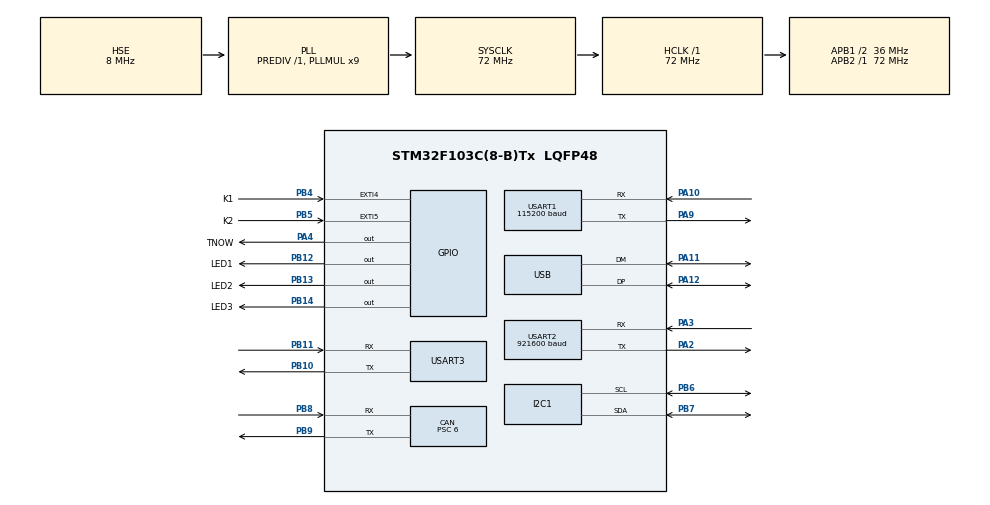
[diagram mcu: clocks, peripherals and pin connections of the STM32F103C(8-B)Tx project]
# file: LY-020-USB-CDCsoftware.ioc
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CAN.BS1=CAN_BS1_8TQ
CAN.BS2=CAN_BS2_3TQ
CAN.CalculateBaudRate=499999
CAN.CalculateTimeBit=2000
CAN.CalculateTimeQuantum=166.66666666666669
CAN.Prescaler=6
Dma.Request0=USART1_RX
Dma.Request1=USART1_TX
Dma.Request2=USART2_RX
Dma.Request3=USART2_TX
Dma.Request4=USART3_RX
Dma.Request5=USART3_TX
Dma.USART1_RX.0.Direction=DMA_PERIPH_TO_MEMORY
Dma.USART1_RX.0.Instance=DMA1_Channel5
Dma.USART1_RX.0.MemDataAlignment=DMA_MDATAALIGN_BYTE
Dma.USART1_RX.0.MemInc=DMA_MINC_ENABLE
Dma.USART1_RX.0.Mode=DMA_CIRCULAR
Dma.USART1_RX.0.PeriphDataAlignment=DMA_PDATAALIGN_BYTE
Dma.USART1_RX.0.PeriphInc=DMA_PINC_DISABLE
Dma.USART1_RX.0.Priority=DMA_PRIORITY_VERY_HIGH
Dma.USART1_TX.1.Direction=DMA_MEMORY_TO_PERIPH
Dma.USART1_TX.1.Instance=DMA1_Channel4
Dma.USART1_TX.1.MemDataAlignment=DMA_MDATAALIGN_BYTE
Dma.USART1_TX.1.MemInc=DMA_MINC_ENABLE
Dma.USART1_TX.1.Mode=DMA_NORMAL
Dma.USART1_TX.1.PeriphDataAlignment=DMA_PDATAALIGN_BYTE
Dma.USART1_TX.1.PeriphInc=DMA_PINC_DISABLE
Dma.USART1_TX.1.Priority=DMA_PRIORITY_VERY_HIGH
Dma.USART2_RX.2.Direction=DMA_PERIPH_TO_MEMORY
Dma.USART2_RX.2.Instance=DMA1_Channel6
Dma.USART2_RX.2.MemDataAlignment=DMA_MDATAALIGN_BYTE
Dma.USART2_RX.2.MemInc=DMA_MINC_ENABLE
Dma.USART2_RX.2.Mode=DMA_CIRCULAR
Dma.USART2_RX.2.PeriphDataAlignment=DMA_PDATAALIGN_BYTE
Dma.USART2_RX.2.PeriphInc=DMA_PINC_DISABLE
Dma.USART2_RX.2.Priority=DMA_PRIORITY_HIGH
Dma.USART2_TX.3.Direction=DMA_MEMORY_TO_PERIPH
Dma.USART2_TX.3.Instance=DMA1_Channel7
Dma.USART2_TX.3.MemDataAlignment=DMA_MDATAALIGN_BYTE
Dma.USART2_TX.3.MemInc=DMA_MINC_ENABLE
Dma.USART2_TX.3.Mode=DMA_NORMAL
Dma.USART2_TX.3.PeriphDataAlignment=DMA_PDATAALIGN_BYTE
Dma.USART2_TX.3.PeriphInc=DMA_PINC_DISABLE
Dma.USART2_TX.3.Priority=DMA_PRIORITY_HIGH
Dma.USART3_RX.4.Direction=DMA_PERIPH_TO_MEMORY
Dma.USART3_RX.4.Instance=DMA1_Channel3
Dma.USART3_RX.4.MemDataAlignment=DMA_MDATAALIGN_BYTE
Dma.USART3_RX.4.MemInc=DMA_MINC_ENABLE
Dma.USART3_RX.4.Mode=DMA_CIRCULAR
Dma.USART3_RX.4.PeriphDataAlignment=DMA_PDATAALIGN_BYTE
Dma.USART3_RX.4.PeriphInc=DMA_PINC_DISABLE
Dma.USART3_RX.4.Priority=DMA_PRIORITY_LOW
Dma.USART3_TX.5.Direction=DMA_MEMORY_TO_PERIPH
Dma.USART3_TX.5.Instance=DMA1_Channel2
Dma.USART3_TX.5.MemDataAlignment=DMA_MDATAALIGN_BYTE
Dma.USART3_TX.5.MemInc=DMA_MINC_ENABLE
Dma.USART3_TX.5.Mode=DMA_NORMAL
Dma.USART3_TX.5.PeriphDataAlignment=DMA_PDATAALIGN_BYTE
Dma.USART3_TX.5.PeriphInc=DMA_PINC_DISABLE
Dma.USART3_TX.5.Priority=DMA_PRIORITY_LOW
FREERTOS.Tasks01=defaultTask,24,128,StartDefaultTask,Default,NULL,Dynamic,NULL,NULL
FREERTOS.configTOTAL_HEAP_SIZE=15360
Mcu.Family=STM32F1
Mcu.Name=STM32F103C(8-B)Tx
Mcu.Package=LQFP48
NVIC.CAN1_RX1_IRQn=true\:5\:0\:false\:false\:true\:true\:true\:true\:true
NVIC.CAN1_SCE_IRQn=true\:5\:0\:false\:false\:true\:true\:true\:true\:true
NVIC.DMA1_Channel2_IRQn=true\:5\:0\:false\:false\:true\:true\:false\:true\:true
NVIC.DMA1_Channel3_IRQn=true\:5\:0\:false\:false\:true\:true\:false\:true\:true
NVIC.DMA1_Channel4_IRQn=true\:5\:0\:false\:false\:true\:true\:false\:true\:true
NVIC.DMA1_Channel5_IRQn=true\:5\:0\:false\:false\:true\:true\:false\:true\:true
NVIC.DMA1_Channel6_IRQn=true\:5\:0\:false\:false\:true\:true\:false\:true\:true
NVIC.DMA1_Channel7_IRQn=true\:5\:0\:false\:false\:true\:true\:false\:true\:true
NVIC.EXTI4_IRQn=true\:5\:0\:false\:false\:true\:true\:true\:true\:true
NVIC.EXTI9_5_IRQn=true\:5\:0\:false\:false\:true\:true\:true\:true\:true
NVIC.PriorityGroup=NVIC_PRIORITYGROUP_4
NVIC.RCC_IRQn=true\:5\:0\:false\:false\:true\:true\:true\:false\:true
NVIC.USART1_IRQn=true\:5\:0\:false\:false\:true\:true\:true\:true\:true
NVIC.USART2_IRQn=true\:5\:0\:false\:false\:true\:true\:true\:true\:true
NVIC.USART3_IRQn=true\:5\:0\:false\:false\:true\:true\:true\:true\:true
NVIC.USB_HP_CAN1_TX_IRQn=true\:5\:0\:false\:false\:true\:true\:true\:true\:true
NVIC.USB_LP_CAN1_RX0_IRQn=true\:5\:0\:false\:false\:true\:true\:false\:true\:true
PA10.Mode=Asynchronous
PA10.Signal=USART1_RX
PA11.Mode=Device
PA11.Signal=USB_DM
PA12.Mode=Device
PA12.Signal=USB_DP
PA13.Mode=Serial_Wire
PA13.Signal=SYS_JTMS-SWDIO
PA14.Mode=Serial_Wire
PA14.Signal=SYS_JTCK-SWCLK
PA2.Mode=Asynchronous
PA2.Signal=USART2_TX
PA3.Mode=Asynchronous
PA3.Signal=USART2_RX
PA4.GPIO_Label=TNOW
PA4.GPIO_Speed=GPIO_SPEED_FREQ_MEDIUM
PA4.Signal=GPIO_Output
PA9.Mode=Asynchronous
PA9.Signal=USART1_TX
PB10.Mode=Asynchronous
PB10.Signal=USART3_TX
PB11.Mode=Asynchronous
PB11.Signal=USART3_RX
PB12.GPIO_Label=LED1
PB12.Signal=GPIO_Output
PB13.GPIO_Label=LED2
PB13.Signal=GPIO_Output
PB14.GPIO_Label=LED3
PB14.Signal=GPIO_Output
PB4.GPIO_Label=K1
PB4.GPIO_ModeDefaultEXTI=GPIO_MODE_IT_FALLING
PB4.Signal=GPXTI4
PB5.GPIO_Label=K2
PB5.GPIO_ModeDefaultEXTI=GPIO_MODE_IT_FALLING
PB5.Signal=GPXTI5
PB6.Mode=I2C
PB6.Signal=I2C1_SCL
PB7.Mode=I2C
PB7.Signal=I2C1_SDA
PB8.Mode=CAN_Activate
PB8.Signal=CAN_RX
PB9.Mode=CAN_Activate
PB9.Signal=CAN_TX
PC14-OSC32_IN.Mode=LSE-External-Oscillator
PC14-OSC32_IN.Signal=RCC_OSC32_IN
PC15-OSC32_OUT.Mode=LSE-External-Oscillator
PC15-OSC32_OUT.Signal=RCC_OSC32_OUT
PD0-OSC_IN.Mode=HSE-External-Oscillator
PD0-OSC_IN.Signal=RCC_OSC_IN
PD1-OSC_OUT.Mode=HSE-External-Oscillator
PD1-OSC_OUT.Signal=RCC_OSC_OUT
ProjectManager.HeapSize=0x400
ProjectManager.StackSize=0x800
ProjectManager.TargetToolchain=MDK-ARM V5.32
RCC.AHBFreq_Value=72000000
RCC.APB1CLKDivider=RCC_HCLK_DIV2
RCC.APB1Freq_Value=36000000
RCC.APB1TimFreq_Value=72000000
RCC.APB2Freq_Value=72000000
RCC.APB2TimFreq_Value=72000000
RCC.HCLKFreq_Value=72000000
RCC.PLLMUL=RCC_PLL_MUL9
RCC.PLLSourceVirtual=RCC_PLLSOURCE_HSE
RCC.SYSCLKFreq_VALUE=72000000
RCC.SYSCLKSource=RCC_SYSCLKSOURCE_PLLCLK
RCC.USBFreq_Value=48000000
RCC.USBPrescaler=RCC_USBCLKSOURCE_PLL_DIV1_5
TIM1.AutoReloadPreload=TIM_AUTORELOAD_PRELOAD_ENABLE
TIM1.ClockDivision=TIM_CLOCKDIVISION_DIV1
TIM1.Period=1000-1
TIM1.Prescaler=72-1
TIM2.AutoReloadPreload=TIM_AUTORELOAD_PRELOAD_ENABLE
TIM2.Period=1000-1
TIM2.Prescaler=72-1
TIM3.AutoReloadPreload=TIM_AUTORELOAD_PRELOAD_ENABLE
TIM3.Period=1000-1
TIM3.Prescaler=72-1
TIM4.AutoReloadPreload=TIM_AUTORELOAD_PRELOAD_ENABLE
TIM4.Period=1000-1
TIM4.Prescaler=72-1
USART1.BaudRate=115200
USART1.VirtualMode=VM_ASYNC
USART2.BaudRate=921600
USART2.VirtualMode=VM_ASYNC
USART3.VirtualMode=VM_ASYNC
USB_DEVICE.CLASS_NAME_FS=CDC
USB_DEVICE.USBD_SELF_POWERED=0
USB_DEVICE.VirtualMode=Cdc
USB_DEVICE.VirtualModeFS=Cdc_FS
VP_FREERTOS_VS_CMSIS_V2.Mode=CMSIS_V2
VP_TIM1_VS_ClockSourceINT.Mode=Internal
VP_TIM2_VS_ClockSourceINT.Mode=Internal
VP_TIM3_VS_ClockSourceINT.Mode=Internal
VP_TIM4_VS_ClockSourceINT.Mode=Internal
VP_USB_DEVICE_VS_USB_DEVICE_CDC_FS.Mode=CDC_FS
board=custom

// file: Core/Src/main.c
/* USER CODE BEGIN Header */
/**
  ******************************************************************************
  * @file           : main.c
  * @brief          : Main program body
  ******************************************************************************
  * @attention
  *
  * Copyright (c) 2025 STMicroelectronics.
  * All rights reserved.
  *
  * This software is licensed under terms that can be found in the LICENSE file
  * in the root directory of this software component.
  * If no LICENSE file comes with this software, it is provided AS-IS.
  *
  ******************************************************************************
  */
/* USER CODE END Header */
#include "main.h"
#include "cmsis_os.h"
#include "usb_device.h"

/* USER CODE BEGIN Includes */
#include "stdio.h"
#include "task.h"

#include "OLED_IIC_Config.h"
#include "OLED_Function.h"
#include "OLED_Front.h"
#include "pc_serial.h"
#include "testTask.h"
#include "insTask.h"
#include "ZLA_Motor.h"
#include "ins.h"
#include "wit_c_sdk.h"
/* USER CODE END Includes */

CAN_HandleTypeDef hcan;

I2C_HandleTypeDef hi2c1;

TIM_HandleTypeDef htim1;
TIM_HandleTypeDef htim2;
TIM_HandleTypeDef htim3;
TIM_HandleTypeDef htim4;

UART_HandleTypeDef huart1;
UART_HandleTypeDef huart2;
UART_HandleTypeDef huart3;
DMA_HandleTypeDef hdma_usart1_rx;
DMA_HandleTypeDef hdma_usart1_tx;
DMA_HandleTypeDef hdma_usart2_rx;
DMA_HandleTypeDef hdma_usart2_tx;
DMA_HandleTypeDef hdma_usart3_rx;
DMA_HandleTypeDef hdma_usart3_tx;

/* Definitions for defaultTask */
osThreadId_t defaultTaskHandle;
const osThreadAttr_t defaultTask_attributes = {
  .name = "defaultTask",
  .stack_size = 128 * 4,
  .priority = (osPriority_t) osPriorityNormal,
};
/* USER CODE BEGIN PV */

CAN_TxHeaderTypeDef TxHeaderCAN;
CAN_RxHeaderTypeDef RxHeaderCAN;
uint8_t RxDataCAN[8];
uint8_t TxDataCAN[8];

uint8_t CAN_Rx_Flag=0;

// UART1 接收缓冲区
#define U1_RX_MAX_LEN 256
uint8_t u1_rx_buffer[U1_RX_MAX_LEN];
// UART2 接收缓冲区（INS）
uint8_t u2_rx_buffer[INS_UART_RX_MAX_LEN];
uint8_t u2_rx_byte; // Single byte buffer for IT mode
// UART3 接收缓冲区（INS）
uint8_t u3_rx_buffer[INS_UART_RX_MAX_LEN];

/* USER CODE END PV */

void SystemClock_Config(void);
static void MX_GPIO_Init(void);
static void MX_DMA_Init(void);
static void MX_USART1_UART_Init(void);
static void MX_I2C1_Init(void);
static void MX_USART2_UART_Init(void);
static void MX_USART3_UART_Init(void);
static void MX_CAN_Init(void);
static void MX_TIM1_Init(void);
static void MX_TIM2_Init(void);
static void MX_TIM3_Init(void);
static void MX_TIM4_Init(void);
void StartDefaultTask(void *argument);

/* USER CODE BEGIN PFP */
void can_filter_init(void);
void CAN_Test(void);
/* USER CODE END PFP */

/* USER CODE BEGIN 0 */

#ifdef __GNUC__
  #define PUTCHAR_PROTOTYPE int __io_putchar(int ch)
#else
  #define PUTCHAR_PROTOTYPE int fputc(int ch, FILE *f)
#endif

PUTCHAR_PROTOTYPE
{
  HAL_UART_Transmit(&huart1,(uint8_t *)&ch,1,0xFFFF); //������ʽ��ӡ,����1
  return ch;
}

static void app_fault_delay(volatile uint32_t cycles)
{
  while (cycles-- > 0U)
  {
    __NOP();
  }
}

static void app_break_if_debugger_attached(void)
{
  if ((CoreDebug->DHCSR & CoreDebug_DHCSR_C_DEBUGEN_Msk) != 0U)
  {
    __BKPT(0);
  }
}

void App_FaultTrap(uint8_t code)
{
  __disable_irq();

  app_break_if_debugger_attached();

  HAL_GPIO_WritePin(LED1_GPIO_Port, LED1_Pin, GPIO_PIN_RESET);
  HAL_GPIO_WritePin(LED2_GPIO_Port, LED2_Pin, GPIO_PIN_RESET);
  HAL_GPIO_WritePin(LED3_GPIO_Port, LED3_Pin, GPIO_PIN_RESET);

  for (;;)
  {
    uint8_t pulse_count = code;
    if (pulse_count == 0U)
    {
      pulse_count = 1U;
    }

    for (uint8_t pulse = 0; pulse < pulse_count; ++pulse)
    {
      HAL_GPIO_WritePin(LED2_GPIO_Port, LED2_Pin, GPIO_PIN_SET);
      app_fault_delay(7200000U);
      HAL_GPIO_WritePin(LED2_GPIO_Port, LED2_Pin, GPIO_PIN_RESET);
      app_fault_delay(7200000U);
    }

    app_fault_delay(21600000U);
  }
}

void vAssertCalled(const char *file, uint32_t line)
{
  (void)file;
  (void)line;
  App_FaultTrap(APP_FAULT_RTOS_ASSERT);
}

void vApplicationStackOverflowHook(TaskHandle_t xTask, char *pcTaskName)
{
  (void)xTask;
  (void)pcTaskName;
  App_FaultTrap(APP_FAULT_STACK_OVERFLOW);
}

void vApplicationMallocFailedHook(void)
{
  App_FaultTrap(APP_FAULT_MALLOC_FAILED);
}

/* USER CODE END 0 */

int main(void)
{

  /* MCU Configuration--------------------------------------------------------*/

  /* Reset of all peripherals, Initializes the Flash interface and the Systick. */
  HAL_Init();

  /* USER CODE BEGIN Init */
  SCB->SHCSR |= SCB_SHCSR_MEMFAULTENA_Msk | SCB_SHCSR_BUSFAULTENA_Msk | SCB_SHCSR_USGFAULTENA_Msk;

  /* USER CODE END Init */

  /* Configure the system clock */
  SystemClock_Config();

  /* Initialize all configured peripherals */
  MX_GPIO_Init();
  MX_DMA_Init();
  MX_USART1_UART_Init();
  MX_I2C1_Init();
  MX_USART2_UART_Init();
  MX_USART3_UART_Init();
  MX_CAN_Init();
  MX_TIM1_Init();
  MX_TIM2_Init();
  MX_TIM3_Init();
  MX_TIM4_Init();
  /* USER CODE BEGIN 2 */
  can_filter_init();
  PC_Init();
  // 开启 UART1 DMA 接收 + 空闲中断
  HAL_UARTEx_ReceiveToIdle_DMA(&huart1, u1_rx_buffer, U1_RX_MAX_LEN);
  __HAL_DMA_DISABLE_IT(&hdma_usart1_rx, DMA_IT_HT); // 禁用半传输中断，防止频繁进入

	osThreadId_t testTaskHandle;
  const osThreadAttr_t testTask_attributes = {
    .name = "test_task",
    .stack_size = 512 * 4,
    .priority = (osPriority_t) osPriorityNormal,
  };

	osThreadId_t insTaskHandle;
const osThreadAttr_t insTask_attributes = {
  .name = "ins_task",
  .stack_size = 256 * 4,
  .priority = (osPriority_t) osPriorityNormal,
};

  /* USER CODE END 2 */

  /* Init scheduler */
  osKernelInitialize();

  /* Create the thread(s) */
  /* creation of defaultTask */
  defaultTaskHandle = osThreadNew(StartDefaultTask, NULL, &defaultTask_attributes);

  /* USER CODE BEGIN RTOS_THREADS */
  /* add threads, ... */
  testTaskHandle = osThreadNew((osThreadFunc_t)test_task, NULL, &testTask_attributes);
  insTaskHandle = osThreadNew((osThreadFunc_t)ins_task, NULL, &insTask_attributes);
  (void)testTaskHandle;
  (void)insTaskHandle;
  /* USER CODE END RTOS_THREADS */

  /* Start scheduler */
  osKernelStart();

  /* We should never get here as control is now taken by the scheduler */

  /* Infinite loop */
  while (1)
  {

  }
}

void SystemClock_Config(void)
{
  RCC_OscInitTypeDef RCC_OscInitStruct = {0};
  RCC_ClkInitTypeDef RCC_ClkInitStruct = {0};
  RCC_PeriphCLKInitTypeDef PeriphClkInit = {0};

  /** Initializes the RCC Oscillators according to the specified parameters
  * in the RCC_OscInitTypeDef structure.
  */
  RCC_OscInitStruct.OscillatorType = RCC_OSCILLATORTYPE_HSE;
  RCC_OscInitStruct.HSEState = RCC_HSE_ON;
  RCC_OscInitStruct.HSEPredivValue = RCC_HSE_PREDIV_DIV1;
  RCC_OscInitStruct.HSIState = RCC_HSI_ON;
  RCC_OscInitStruct.PLL.PLLState = RCC_PLL_ON;
  RCC_OscInitStruct.PLL.PLLSource = RCC_PLLSOURCE_HSE;
  RCC_OscInitStruct.PLL.PLLMUL = RCC_PLL_MUL9;
  if (HAL_RCC_OscConfig(&RCC_OscInitStruct) != HAL_OK)
  {
    Error_Handler();
  }

  /** Initializes the CPU, AHB and APB buses clocks
  */
  RCC_ClkInitStruct.ClockType = RCC_CLOCKTYPE_HCLK|RCC_CLOCKTYPE_SYSCLK
                              |RCC_CLOCKTYPE_PCLK1|RCC_CLOCKTYPE_PCLK2;
  RCC_ClkInitStruct.SYSCLKSource = RCC_SYSCLKSOURCE_PLLCLK;
  RCC_ClkInitStruct.AHBCLKDivider = RCC_SYSCLK_DIV1;
  RCC_ClkInitStruct.APB1CLKDivider = RCC_HCLK_DIV2;
  RCC_ClkInitStruct.APB2CLKDivider = RCC_HCLK_DIV1;

  if (HAL_RCC_ClockConfig(&RCC_ClkInitStruct, FLASH_LATENCY_2) != HAL_OK)
  {
    Error_Handler();
  }
  PeriphClkInit.PeriphClockSelection = RCC_PERIPHCLK_USB;
  PeriphClkInit.UsbClockSelection = RCC_USBCLKSOURCE_PLL_DIV1_5;
  if (HAL_RCCEx_PeriphCLKConfig(&PeriphClkInit) != HAL_OK)
  {
    Error_Handler();
  }
}

static void MX_CAN_Init(void)
{

  hcan.Instance = CAN1;
  hcan.Init.Prescaler = 6;
  hcan.Init.Mode = CAN_MODE_NORMAL;
  hcan.Init.SyncJumpWidth = CAN_SJW_1TQ;
  hcan.Init.TimeSeg1 = CAN_BS1_8TQ;
  hcan.Init.TimeSeg2 = CAN_BS2_3TQ;
  hcan.Init.TimeTriggeredMode = DISABLE;
  hcan.Init.AutoBusOff = DISABLE;
  hcan.Init.AutoWakeUp = DISABLE;
  hcan.Init.AutoRetransmission = DISABLE;
  hcan.Init.ReceiveFifoLocked = DISABLE;
  hcan.Init.TransmitFifoPriority = DISABLE;
  if (HAL_CAN_Init(&hcan) != HAL_OK)
  {
    Error_Handler();
  }

}

static void MX_I2C1_Init(void)
{

  hi2c1.Instance = I2C1;
  hi2c1.Init.ClockSpeed = 100000;
  hi2c1.Init.DutyCycle = I2C_DUTYCYCLE_2;
  hi2c1.Init.OwnAddress1 = 0;
  hi2c1.Init.AddressingMode = I2C_ADDRESSINGMODE_7BIT;
  hi2c1.Init.DualAddressMode = I2C_DUALADDRESS_DISABLE;
  hi2c1.Init.OwnAddress2 = 0;
  hi2c1.Init.GeneralCallMode = I2C_GENERALCALL_DISABLE;
  hi2c1.Init.NoStretchMode = I2C_NOSTRETCH_DISABLE;
  if (HAL_I2C_Init(&hi2c1) != HAL_OK)
  {
    Error_Handler();
  }

}

static void MX_TIM1_Init(void)
{

  TIM_ClockConfigTypeDef sClockSourceConfig = {0};
  TIM_MasterConfigTypeDef sMasterConfig = {0};

  htim1.Instance = TIM1;
  htim1.Init.Prescaler = 72-1;
  htim1.Init.CounterMode = TIM_COUNTERMODE_UP;
  htim1.Init.Period = 1000-1;
  htim1.Init.ClockDivision = TIM_CLOCKDIVISION_DIV1;
  htim1.Init.RepetitionCounter = 0;
  htim1.Init.AutoReloadPreload = TIM_AUTORELOAD_PRELOAD_ENABLE;
  if (HAL_TIM_Base_Init(&htim1) != HAL_OK)
  {
    Error_Handler();
  }
  sClockSourceConfig.ClockSource = TIM_CLOCKSOURCE_INTERNAL;
  if (HAL_TIM_ConfigClockSource(&htim1, &sClockSourceConfig) != HAL_OK)
  {
    Error_Handler();
  }
  sMasterConfig.MasterOutputTrigger = TIM_TRGO_RESET;
  sMasterConfig.MasterSlaveMode = TIM_MASTERSLAVEMODE_DISABLE;
  if (HAL_TIMEx_MasterConfigSynchronization(&htim1, &sMasterConfig) != HAL_OK)
  {
    Error_Handler();
  }

}

static void MX_TIM2_Init(void)
{

  TIM_ClockConfigTypeDef sClockSourceConfig = {0};
  TIM_MasterConfigTypeDef sMasterConfig = {0};

  htim2.Instance = TIM2;
  htim2.Init.Prescaler = 72-1;
  htim2.Init.CounterMode = TIM_COUNTERMODE_UP;
  htim2.Init.Period = 1000-1;
  htim2.Init.ClockDivision = TIM_CLOCKDIVISION_DIV1;
  htim2.Init.AutoReloadPreload = TIM_AUTORELOAD_PRELOAD_ENABLE;
  if (HAL_TIM_Base_Init(&htim2) != HAL_OK)
  {
    Error_Handler();
  }
  sClockSourceConfig.ClockSource = TIM_CLOCKSOURCE_INTERNAL;
  if (HAL_TIM_ConfigClockSource(&htim2, &sClockSourceConfig) != HAL_OK)
  {
    Error_Handler();
  }
  sMasterConfig.MasterOutputTrigger = TIM_TRGO_RESET;
  sMasterConfig.MasterSlaveMode = TIM_MASTERSLAVEMODE_DISABLE;
  if (HAL_TIMEx_MasterConfigSynchronization(&htim2, &sMasterConfig) != HAL_OK)
  {
    Error_Handler();
  }

}

static void MX_TIM3_Init(void)
{

  TIM_ClockConfigTypeDef sClockSourceConfig = {0};
  TIM_MasterConfigTypeDef sMasterConfig = {0};

  htim3.Instance = TIM3;
  htim3.Init.Prescaler = 72-1;
  htim3.Init.CounterMode = TIM_COUNTERMODE_UP;
  htim3.Init.Period = 1000-1;
  htim3.Init.ClockDivision = TIM_CLOCKDIVISION_DIV1;
  htim3.Init.AutoReloadPreload = TIM_AUTORELOAD_PRELOAD_ENABLE;
  if (HAL_TIM_Base_Init(&htim3) != HAL_OK)
  {
    Error_Handler();
  }
  sClockSourceConfig.ClockSource = TIM_CLOCKSOURCE_INTERNAL;
  if (HAL_TIM_ConfigClockSource(&htim3, &sClockSourceConfig) != HAL_OK)
  {
    Error_Handler();
  }
  sMasterConfig.MasterOutputTrigger = TIM_TRGO_RESET;
  sMasterConfig.MasterSlaveMode = TIM_MASTERSLAVEMODE_DISABLE;
  if (HAL_TIMEx_MasterConfigSynchronization(&htim3, &sMasterConfig) != HAL_OK)
  {
    Error_Handler();
  }

}

static void MX_TIM4_Init(void)
{

  TIM_ClockConfigTypeDef sClockSourceConfig = {0};
  TIM_MasterConfigTypeDef sMasterConfig = {0};

  htim4.Instance = TIM4;
  htim4.Init.Prescaler = 72-1;
  htim4.Init.CounterMode = TIM_COUNTERMODE_UP;
  htim4.Init.Period = 1000-1;
  htim4.Init.ClockDivision = TIM_CLOCKDIVISION_DIV1;
  htim4.Init.AutoReloadPreload = TIM_AUTORELOAD_PRELOAD_ENABLE;
  if (HAL_TIM_Base_Init(&htim4) != HAL_OK)
  {
    Error_Handler();
  }
  sClockSourceConfig.ClockSource = TIM_CLOCKSOURCE_INTERNAL;
  if (HAL_TIM_ConfigClockSource(&htim4, &sClockSourceConfig) != HAL_OK)
  {
    Error_Handler();
  }
  sMasterConfig.MasterOutputTrigger = TIM_TRGO_RESET;
  sMasterConfig.MasterSlaveMode = TIM_MASTERSLAVEMODE_DISABLE;
  if (HAL_TIMEx_MasterConfigSynchronization(&htim4, &sMasterConfig) != HAL_OK)
  {
    Error_Handler();
  }

}

static void MX_USART1_UART_Init(void)
{

  huart1.Instance = USART1;
  huart1.Init.BaudRate = 115200;
  huart1.Init.WordLength = UART_WORDLENGTH_8B;
  huart1.Init.StopBits = UART_STOPBITS_1;
  huart1.Init.Parity = UART_PARITY_NONE;
  huart1.Init.Mode = UART_MODE_TX_RX;
  huart1.Init.HwFlowCtl = UART_HWCONTROL_NONE;
  huart1.Init.OverSampling = UART_OVERSAMPLING_16;
  if (HAL_UART_Init(&huart1) != HAL_OK)
  {
    Error_Handler();
  }

}

static void MX_USART2_UART_Init(void)
{

  huart2.Instance = USART2;
  huart2.Init.BaudRate = 921600;
  huart2.Init.WordLength = UART_WORDLENGTH_8B;
  huart2.Init.StopBits = UART_STOPBITS_1;
  huart2.Init.Parity = UART_PARITY_NONE;
  huart2.Init.Mode = UART_MODE_TX_RX;
  huart2.Init.HwFlowCtl = UART_HWCONTROL_NONE;
  huart2.Init.OverSampling = UART_OVERSAMPLING_16;
  if (HAL_UART_Init(&huart2) != HAL_OK)
  {
    Error_Handler();
  }

}

static void MX_USART3_UART_Init(void)
{

  huart3.Instance = USART3;
  huart3.Init.BaudRate = 115200;
  huart3.Init.WordLength = UART_WORDLENGTH_8B;
  huart3.Init.StopBits = UART_STOPBITS_1;
  huart3.Init.Parity = UART_PARITY_NONE;
  huart3.Init.Mode = UART_MODE_TX_RX;
  huart3.Init.HwFlowCtl = UART_HWCONTROL_NONE;
  huart3.Init.OverSampling = UART_OVERSAMPLING_16;
  if (HAL_UART_Init(&huart3) != HAL_OK)
  {
    Error_Handler();
  }

}

static void MX_DMA_Init(void)
{

  /* DMA controller clock enable */
  __HAL_RCC_DMA1_CLK_ENABLE();

  /* DMA interrupt init */
  /* DMA1_Channel2_IRQn interrupt configuration */
  HAL_NVIC_SetPriority(DMA1_Channel2_IRQn, 5, 0);
  HAL_NVIC_EnableIRQ(DMA1_Channel2_IRQn);
  /* DMA1_Channel3_IRQn interrupt configuration */
  HAL_NVIC_SetPriority(DMA1_Channel3_IRQn, 5, 0);
  HAL_NVIC_EnableIRQ(DMA1_Channel3_IRQn);
  /* DMA1_Channel4_IRQn interrupt configuration */
  HAL_NVIC_SetPriority(DMA1_Channel4_IRQn, 5, 0);
  HAL_NVIC_EnableIRQ(DMA1_Channel4_IRQn);
  /* DMA1_Channel5_IRQn interrupt configuration */
  HAL_NVIC_SetPriority(DMA1_Channel5_IRQn, 5, 0);
  HAL_NVIC_EnableIRQ(DMA1_Channel5_IRQn);
  /* DMA1_Channel6_IRQn interrupt configuration */
  HAL_NVIC_SetPriority(DMA1_Channel6_IRQn, 5, 0);
  HAL_NVIC_EnableIRQ(DMA1_Channel6_IRQn);
  /* DMA1_Channel7_IRQn interrupt configuration */
  HAL_NVIC_SetPriority(DMA1_Channel7_IRQn, 5, 0);
  HAL_NVIC_EnableIRQ(DMA1_Channel7_IRQn);

}

static void MX_GPIO_Init(void)
{
  GPIO_InitTypeDef GPIO_InitStruct = {0};

  /* GPIO Ports Clock Enable */
  __HAL_RCC_GPIOC_CLK_ENABLE();
  __HAL_RCC_GPIOD_CLK_ENABLE();
  __HAL_RCC_GPIOA_CLK_ENABLE();
  __HAL_RCC_GPIOB_CLK_ENABLE();

  /*Configure GPIO pin Output Level */
  HAL_GPIO_WritePin(TNOW_GPIO_Port, TNOW_Pin, GPIO_PIN_SET);

  /*Configure GPIO pin Output Level */
  HAL_GPIO_WritePin(GPIOB, LED1_Pin|LED2_Pin|LED3_Pin, GPIO_PIN_RESET);

  /*Configure GPIO pin : TNOW_Pin */
  GPIO_InitStruct.Pin = TNOW_Pin;
  GPIO_InitStruct.Mode = GPIO_MODE_OUTPUT_PP;
  GPIO_InitStruct.Pull = GPIO_NOPULL;
  GPIO_InitStruct.Speed = GPIO_SPEED_FREQ_MEDIUM;
  HAL_GPIO_Init(TNOW_GPIO_Port, &GPIO_InitStruct);

  /*Configure GPIO pins : LED1_Pin LED2_Pin LED3_Pin */
  GPIO_InitStruct.Pin = LED1_Pin|LED2_Pin|LED3_Pin;
  GPIO_InitStruct.Mode = GPIO_MODE_OUTPUT_PP;
  GPIO_InitStruct.Pull = GPIO_NOPULL;
  GPIO_InitStruct.Speed = GPIO_SPEED_FREQ_LOW;
  HAL_GPIO_Init(GPIOB, &GPIO_InitStruct);

  /*Configure GPIO pins : K1_Pin K2_Pin */
  GPIO_InitStruct.Pin = K1_Pin|K2_Pin;
  GPIO_InitStruct.Mode = GPIO_MODE_IT_FALLING;
  GPIO_InitStruct.Pull = GPIO_NOPULL;
  HAL_GPIO_Init(GPIOB, &GPIO_InitStruct);

  /* EXTI interrupt init*/
  HAL_NVIC_SetPriority(EXTI4_IRQn, 5, 0);
  HAL_NVIC_EnableIRQ(EXTI4_IRQn);

  HAL_NVIC_SetPriority(EXTI9_5_IRQn, 5, 0);
  HAL_NVIC_EnableIRQ(EXTI9_5_IRQn);

}

/* USER CODE BEGIN 4 */

void can_filter_init(void)
{
    CAN_FilterTypeDef can_filter_st;

    // ---------------------------------------------------------
    // FIFO 0 配置: 针对 ID 0x581, 0x701, 0x181, 0x182 (如需)
    // ---------------------------------------------------------
    can_filter_st.FilterBank = 0;
    can_filter_st.FilterActivation = ENABLE;
    can_filter_st.FilterMode = CAN_FILTERMODE_IDLIST;
    can_filter_st.FilterScale = CAN_FILTERSCALE_16BIT;

    // 手册要求：标准帧ID需要左移5位对齐到高11位
    can_filter_st.FilterIdHigh = 0x581 << 5;
    can_filter_st.FilterIdLow  = 0x701 << 5;
    can_filter_st.FilterMaskIdHigh = 0x181 << 5;
    can_filter_st.FilterMaskIdLow  = 0x182 << 5;

    can_filter_st.FilterFIFOAssignment = CAN_RX_FIFO0;
    can_filter_st.SlaveStartFilterBank = 14;
    HAL_CAN_ConfigFilter(&hcan, &can_filter_st);

    // ---------------------------------------------------------
    // FIFO 1 配置: 针对 ID 0x582, 0x702
    // ---------------------------------------------------------
    can_filter_st.FilterBank = 1; // 使用 Bank 1
    can_filter_st.FilterActivation = ENABLE;
    can_filter_st.FilterMode = CAN_FILTERMODE_IDLIST;
    can_filter_st.FilterScale = CAN_FILTERSCALE_16BIT;

    can_filter_st.FilterIdHigh = 0x582 << 5;
    can_filter_st.FilterIdLow  = 0x702 << 5;
    can_filter_st.FilterMaskIdHigh = 0x0000;
    can_filter_st.FilterMaskIdLow  = 0x0000;

    can_filter_st.FilterFIFOAssignment = CAN_RX_FIFO1; // 关键：指向 FIFO1
    can_filter_st.SlaveStartFilterBank = 14;
    HAL_CAN_ConfigFilter(&hcan, &can_filter_st);

    // ---------------------------------------------------------
    // 启动与中断使能
    // ---------------------------------------------------------
    HAL_CAN_Start(&hcan);

    HAL_CAN_ActivateNotification(&hcan, CAN_IT_RX_FIFO0_MSG_PENDING);
    HAL_CAN_ActivateNotification(&hcan, CAN_IT_RX_FIFO1_MSG_PENDING);
}

void HAL_CAN_RxFifo0MsgPendingCallback(CAN_HandleTypeDef *hcan_instance)
{
    CAN_RxHeaderTypeDef rx_header;
    uint8_t rx_data[8];

    // 获取消息
    HAL_CAN_GetRxMessage(hcan_instance, CAN_RX_FIFO0, &rx_header, rx_data);

    // 只有一个 CAN，直接处理
    if (hcan_instance->Instance == CAN1)
    {
        extern ZLA_Motor front_drive; // 引用 test_task.c 中的定义
        extern ZLA_Motor rear_drive;
        ZLA_Motor_ProcessRx(&rx_header, rx_data, &front_drive);
        ZLA_Motor_ProcessRx(&rx_header, rx_data, &rear_drive);
    }
}

void HAL_CAN_RxFifo1MsgPendingCallback(CAN_HandleTypeDef *hcan_instance)
{
    CAN_RxHeaderTypeDef rx_header;
    uint8_t rx_data[8];

    HAL_CAN_GetRxMessage(hcan_instance, CAN_RX_FIFO1, &rx_header, rx_data);

    if (hcan_instance->Instance == CAN1)
    {
        extern ZLA_Motor front_drive;
        extern ZLA_Motor rear_drive;
        ZLA_Motor_ProcessRx(&rx_header, rx_data, &front_drive);
        ZLA_Motor_ProcessRx(&rx_header, rx_data, &rear_drive);
		}
}

void HAL_GPIO_EXTI_Callback(uint16_t GPIO_Pin)
{
    if (GPIO_Pin == K1_Pin)
    {
        if (HAL_GPIO_ReadPin(K1_GPIO_Port, K1_Pin) == GPIO_PIN_RESET)
        {
        	HAL_GPIO_TogglePin(LED3_GPIO_Port, LED3_Pin);
            //printf("KEY1 trigger \r\n");
        	HAL_UART_Transmit(&huart1,"KEY1 trigger \r\n",strlen("KEY1 trigger \r\n"),0xFFFF);
        }
    }

    if (GPIO_Pin == K2_Pin) {
          //  HAL_Delay(10);
            if (HAL_GPIO_ReadPin(K2_GPIO_Port, K2_Pin) == GPIO_PIN_RESET)
            {
            	HAL_GPIO_TogglePin(LED2_GPIO_Port, LED2_Pin);
                //printf("KEY2 trigger\r\n");
                HAL_UART_Transmit(&huart1,"KEY2 trigger \r\n",strlen("KEY2 trigger \r\n"),0xFFFF);
            }
        }

}
void CAN_Test(void)
{
    // 发送数据CAN
    TxHeaderCAN.ExtId = 0x00;
    TxHeaderCAN.DLC = 8;
    TxHeaderCAN.IDE = CAN_ID_STD;
    TxHeaderCAN.RTR = CAN_RTR_DATA;
    TxHeaderCAN.StdId = 0x00;
    TxHeaderCAN.TransmitGlobalTime = DISABLE;

    uint32_t TxMailBox;

    for(int i = 0; i < 8; ++i) {
        TxDataCAN[i] = i;
    }

    HAL_CAN_AddTxMessage(&hcan, &TxHeaderCAN, TxDataCAN, &TxMailBox);

}

// 接收完成回调（Interrupt模式）
void HAL_UART_RxCpltCallback(UART_HandleTypeDef *huart)
{
    if (huart->Instance == USART2)
    {
        WitSerialDataIn(u2_rx_byte);
        HAL_UART_Receive_IT(&huart2, &u2_rx_byte, 1);
    }
}

// 错误回调函数（处理波特率扫描时的噪音错误，防止接收中断死锁）
void HAL_UART_ErrorCallback(UART_HandleTypeDef *huart)
{
  if (huart->Instance == USART1)
  {
    HAL_UART_AbortReceive(huart);
    __HAL_UART_CLEAR_OREFLAG(huart);
    HAL_UARTEx_ReceiveToIdle_DMA(huart, u1_rx_buffer, U1_RX_MAX_LEN);
    __HAL_DMA_DISABLE_IT(&hdma_usart1_rx, DMA_IT_HT);
  }
  else if (huart->Instance == USART2)
  {
    HAL_UART_AbortReceive(huart);
    __HAL_UART_CLEAR_PEFLAG(huart);
    __HAL_UART_CLEAR_FEFLAG(huart);
    __HAL_UART_CLEAR_NEFLAG(huart);
    __HAL_UART_CLEAR_OREFLAG(huart);
    huart->ErrorCode = HAL_UART_ERROR_NONE;
    HAL_UART_Receive_IT(huart, &u2_rx_byte, 1);
  }
}

// 接收到空闲中断事件回调（DMA接收完成或空闲超时）
void HAL_UARTEx_RxEventCallback(UART_HandleTypeDef *huart, uint16_t Size)
{
    if (huart->Instance == USART1)
    {
        PC_ProcessReceived(u1_rx_buffer, Size);
        // Also feed data to CopeCmdData for Wit SDK control override if needed
        /*
        for (uint16_t i = 0; i < Size; ++i)
        {
             CopeCmdData(u1_rx_buffer[i]);
        }
        */

        HAL_UARTEx_ReceiveToIdle_DMA(&huart1, u1_rx_buffer, U1_RX_MAX_LEN);
        __HAL_DMA_DISABLE_IT(&hdma_usart1_rx, DMA_IT_HT);
    }
  else if (huart->Instance == USART3)
  {
    for (uint16_t i = 0; i < Size; ++i)
    {
        WitSerialDataIn(u3_rx_buffer[i]);  // New SDK parsing
    }

    HAL_UARTEx_ReceiveToIdle_DMA(&huart3, u3_rx_buffer, INS_UART_RX_MAX_LEN);
    __HAL_DMA_DISABLE_IT(huart3.hdmarx, DMA_IT_HT);
  }
}

/* USER CODE END 4 */

void StartDefaultTask(void *argument)
{
  /* init code for USB_DEVICE */
  MX_USB_DEVICE_Init();
  /* USER CODE BEGIN 5 */
  /* Infinite loop */
  for(;;)
  {
    HAL_GPIO_TogglePin(LED1_GPIO_Port, LED1_Pin);
    osDelay(1000);
  }
  /* USER CODE END 5 */
}

void Error_Handler(void)
{
  /* USER CODE BEGIN Error_Handler_Debug */
  App_FaultTrap(APP_FAULT_ERROR_HANDLER);
  /* USER CODE END Error_Handler_Debug */
}

#ifdef  USE_FULL_ASSERT
/**
  * @brief  Reports the name of the source file and the source line number
  *         where the assert_param error has occurred.
  * @param  file: pointer to the source file name
  * @param  line: assert_param error line source number
  * @retval None
  */
void assert_failed(uint8_t *file, uint32_t line)
{
  /* USER CODE BEGIN 6 */
  (void)file;
  (void)line;
  App_FaultTrap(APP_FAULT_ERROR_HANDLER);
  /* USER CODE END 6 */
}
#endif /* USE_FULL_ASSERT */
